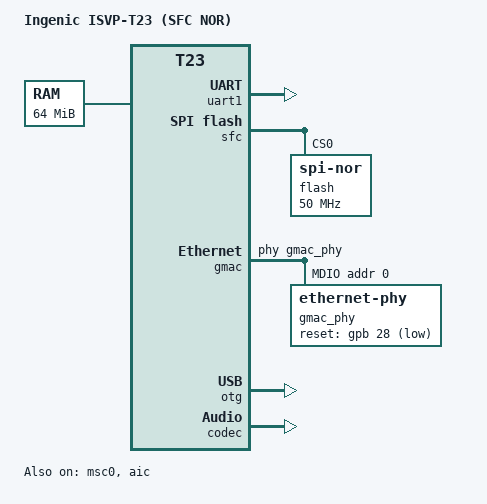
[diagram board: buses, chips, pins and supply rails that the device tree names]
// SPDX-License-Identifier: GPL-2.0+
/*
 * Ingenic ISVP-T23 shared board body (SFC-NOR, USB host).
 *
 * The per-SKU leaf .dts files (t23n-isvp.dts, ...) include this and
 * supply the DDR node's per-SKU "ingenic,sdram-params" array, consumed
 * by the shared Innophy DDR driver (ddr_t31.c). The matching
 * <leaf>-u-boot.dtsi pulls in t23-isvp-uboot-common.dtsi
 * (binman image + SPL bootph).
 */

#include <dt-bindings/gpio/gpio.h>
#include "t23.dtsi"

/ {
	compatible = "ingenic,isvp-t23", "ingenic,t23";
	model = "Ingenic ISVP-T23 (SFC NOR)";

	aliases {
		serial1 = &uart1;
	};

	chosen {
		stdout-path = "serial1:115200n8";
	};

	memory@0 {
		device_type = "memory";
		/* Placeholder; the DDR driver reports the real per-SKU size. */
		reg = <0x0 0x04000000>;
	};
};

&uart1 {
	status = "okay";
};

&sfc {
	status = "okay";

	flash@0 {
		compatible = "jedec,spi-nor";
		reg = <0>;
		spi-max-frequency = <50000000>;
	};
};

&msc0 {
	status = "okay";
	bus-width = <4>;
	broken-cd;	/* no card-detect line wired on the ISVP board */
};

&gmac {
	status = "okay";
	phy-handle = <&gmac_phy>;

	mdio {
		#address-cells = <1>;
		#size-cells = <0>;

		/* IP101G; boards with another reset pin override this node. */
		gmac_phy: ethernet-phy@0 {
			reg = <0>;
			reset-gpios = <&gpb 28 GPIO_ACTIVE_LOW>;
			reset-assert-us = <50000>;
			reset-deassert-us = <10000>;
		};
	};
};

&otg {
	status = "okay";
};

&aic {
	status = "okay";
};

&codec {
	status = "okay";
	/* Speaker-amp enable: SDK default PB31, active-high. Override
	 * here per board if the amp is on a different pin/polarity. */
	ingenic,spk-gpio = <&gpb 31 GPIO_ACTIVE_HIGH>;
};

&sound {
	status = "okay";
};
